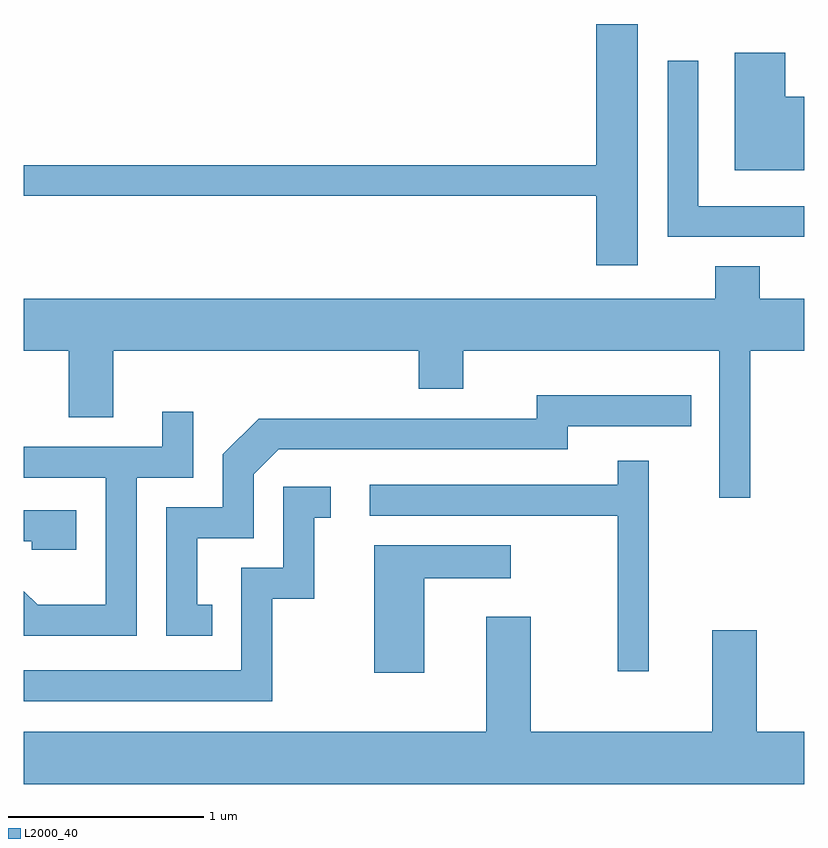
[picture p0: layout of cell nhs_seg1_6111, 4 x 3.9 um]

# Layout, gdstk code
import gdstk
lib = gdstk.Library(unit=1e-6, precision=1e-09)
def P(c, l, *ps):  # polygons
    for p in ps: c.add(gdstk.Polygon(p, *l))
L2000_40 = (2000, 40)

nhs_seg1_6111 = lib.new_cell('nhs_seg1_6111')
P(nhs_seg1_6111, L2000_40, [(372.759,885.712),(372.546,885.712),(372.546,884.989),(369.611,884.989),(369.611,884.831),(372.546,884.831),(372.546,884.476),(372.759,884.476)],
  [(373.611,885.339),(373.514,885.339),(373.514,885.564),(373.256,885.564),(373.256,884.961),(373.611,884.961)],
  [(373.611,884.779),(373.069,884.779),(373.069,885.523),(372.911,885.523),(372.911,884.621),(373.611,884.621)],
  [(373.334,884.036),(373.611,884.036),(373.611,884.304),(373.384,884.304),(373.384,884.469),(373.156,884.469),(373.156,884.304),(369.611,884.304),(369.611,884.036),(369.841,884.036),(369.841,883.696),(370.069,883.696),(370.069,884.036),(371.636,884.036),(371.636,883.841),(371.864,883.841),(371.864,884.036),(373.176,884.036),(373.176,883.283),(373.334,883.283)],
  [(370.578,882.734),(370.499,882.734),(370.499,883.076),(370.789,883.076),(370.789,883.404),(370.917,883.531),(372.399,883.531),(372.399,883.651),(373.033,883.651),(373.033,883.809),(372.241,883.809),(372.241,883.689),(370.814,883.689),(370.631,883.507),(370.631,883.234),(370.341,883.234),(370.341,882.576),(370.578,882.576)],
  [(370.189,883.386),(370.479,883.386),(370.479,883.723),(370.321,883.723),(370.321,883.544),(369.611,883.544),(369.611,883.386),(370.031,883.386),(370.031,882.734),(369.682,882.734),(369.611,882.805),(369.611,882.576),(370.189,882.576)],
  [(372.814,883.473),(372.656,883.473),(372.656,883.349),(371.383,883.349),(371.383,883.191),(372.656,883.191),(372.656,882.393),(372.814,882.393)],
  [(370.884,882.766),(371.099,882.766),(371.099,883.181),(371.183,883.181),(371.183,883.339),(370.941,883.339),(370.941,882.924),(370.726,882.924),(370.726,882.399),(369.611,882.399),(369.611,882.241),(370.884,882.241)],
  [(369.879,883.219),(369.611,883.219),(369.611,883.061),(369.651,883.061),(369.651,883.016),(369.879,883.016)],
  [(371.664,882.871),(372.108,882.871),(372.108,883.039),(371.406,883.039),(371.406,882.386),(371.664,882.386)],
  [(373.611,882.084),(373.369,882.084),(373.369,882.604),(373.141,882.604),(373.141,882.084),(372.209,882.084),(372.209,882.674),(371.981,882.674),(371.981,882.084),(369.611,882.084),(369.611,881.816),(373.611,881.816)])

lib.write_gds('nhs_seg1_6111.gds')
